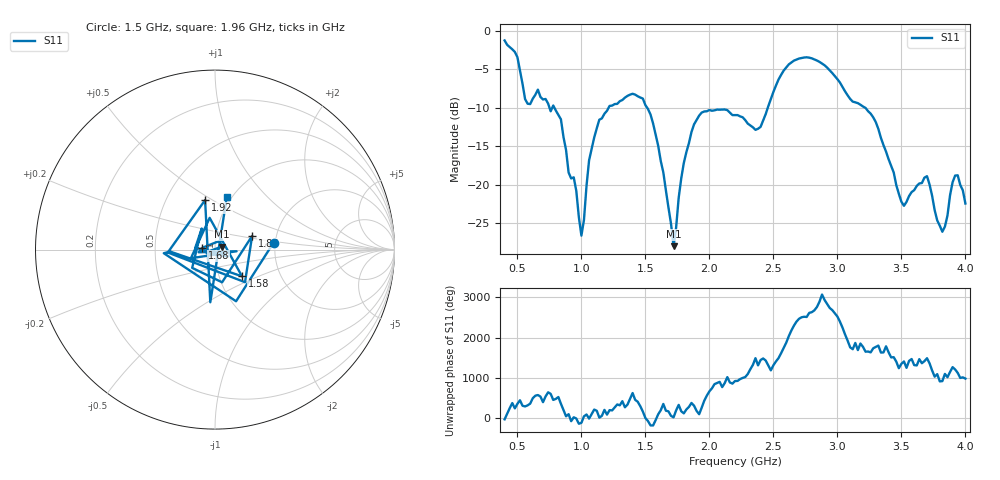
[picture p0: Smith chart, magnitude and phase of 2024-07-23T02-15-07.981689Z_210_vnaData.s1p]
!Created with skrf (http://scikit-rf.org).
# Hz S RI R 50.0
!freq ReS11 ImS11
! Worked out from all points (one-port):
!   181 points, 400 MHz to 4 GHz, reference 50 ohm
!   lowest |S11| = -27.9 dB at 1.72 GHz (marker M1), VSWR 1.08, Z = 53.8 + j1.68 ohm
!   |S11| at or under -10 dB: 789.3 MHz to 1.212 GHz (423 MHz wide, 42.3 % of centre); 1.514 GHz to 2.456 GHz (942 MHz wide, 47.5 % of centre); 3.218 GHz to end of sweep (the widest 3 of 4)
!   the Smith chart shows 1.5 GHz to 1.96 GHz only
!   S11 on the Smith chart (normalised r, x): 1.5 GHz: 1.96, +0.17; 1.58 GHz: 1.28, -0.40; 1.68 GHz: 0.87, +0.02; 1.86 GHz: 1.50, +0.24; 1.92 GHz: 0.77, +0.46; 1.96 GHz: 0.95, +0.61
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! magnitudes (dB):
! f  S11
! 400 MHz  -1.3
! 500 MHz  -3.4
! 580 MHz  -9.5
! 660 MHz  -7.6
! 860 MHz  -13.8
! 1 GHz  -26.6
! 1.06 GHz  -16.8
! 1.12 GHz  -12.7
! 1.3 GHz  -9.1
! 1.5 GHz  -9.7
! 1.58 GHz  -13.5
! 1.68 GHz  -22.9
! 1.72 GHz  -27.9
! 1.76 GHz  -21.7
! 1.86 GHz  -13.1
! 1.92 GHz  -11.0
! 1.96 GHz  -10.5
! 2.2 GHz  -10.9
! 2.4 GHz  -12.5
! 2.66 GHz  -3.9
! 3.1 GHz  -8.8
! 3.28 GHz  -11.2
! 3.5 GHz  -22.2
! 3.56 GHz  -21.4
! 3.7 GHz  -18.9
! 3.82 GHz  -26.1
! 3.92 GHz  -18.8
! 4 GHz  -22.4
